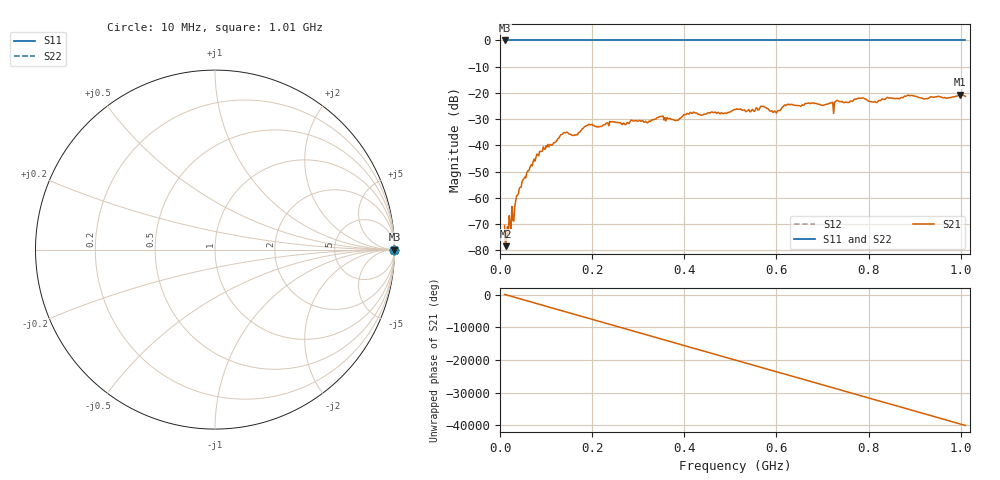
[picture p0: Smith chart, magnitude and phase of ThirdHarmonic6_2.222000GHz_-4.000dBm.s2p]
! 8/17/2025 2:27:37 AM
! C:\ANRITSUVNA\TEMP\TEMP.S2P
! CHANNEL.1
! TR.MEASUREMENT
! RAW.DATA
! RF.CORRECTION.OFF
! AVERAGING.OFF
! IF.BANDWIDTH: 5KHZ
! SWEEPTYPE:  FREQ.SWEEP(Linear)
! Reference Plane Port Info
! PORT:  PORT1  PORT2
! DISTANCE:  0  m  0  m
! TIME:  0  s  0  s
! PHASE.OFFSET:  0  deg.  0  deg.
! LOSS:  0  dB  0  dB
! REF.LOSS:  0  dB  0  dB
! REF.FREQ:  0  Hz  0  Hz
! Power Info
! POWER:  -20  dBm  -20  dBm
! EFF.POWER:  -20  dBm  -20  dBm
! SOURCE.ATTEN:  0  dB  0  dB
! TEST.ATTEN:  0  dB  0  dB
# GHZ S RI R 50.0
! FREQ.GHZ  S11RE  S11IM  S21RE  S21IM  S12RE  S12IM  S22RE  S22IM
!; PortSelection: Port_12
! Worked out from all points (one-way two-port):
!   501 points, 10 MHz to 1.01 GHz, reference 50 ohm
!   highest |S21| = -20.59 dB at 998 MHz (marker M1); lowest = -78.4 dB at 12 MHz (marker M2)
!   lowest |S11| = 0.0 dB at 10 MHz (marker M3)
!   |S11| at or under -10 dB: nowhere
!   |S22| runs from 0.0 to 0.0 dB; largest |S21 - S12| = 1.1
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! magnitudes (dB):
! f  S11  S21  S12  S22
! 10 MHz  0.0  -70.5  0.0  0.0
! 12 MHz  0.0  -78.4  0.0  0.0
! 14 MHz  0.0  -75.2  0.0  0.0
! 26 MHz  0.0  -63.3  0.0  0.0
! 38 MHz  0.0  -59.0  0.0  0.0
! 46 MHz  0.0  -55.9  0.0  0.0
! 82 MHz  0.0  -43.4  0.0  0.0
! 136 MHz  0.0  -35.7  0.0  0.0
! 164 MHz  0.0  -36.0  0.0  0.0
! 178 MHz  0.0  -33.8  0.0  0.0
! 196 MHz  0.0  -32.2  0.0  0.0
! 344 MHz  0.0  -29.3  0.0  0.0
! 382 MHz  0.0  -30.5  0.0  0.0
! 416 MHz  0.0  -27.8  0.0  0.0
! 510 MHz  0.0  -26.3  0.0  0.0
! 570 MHz  0.0  -25.1  0.0  0.0
! 596 MHz  0.0  -26.8  0.0  0.0
! 622 MHz  0.0  -24.6  0.0  0.0
! 678 MHz  0.0  -23.9  0.0  0.0
! 844 MHz  0.0  -21.9  0.0  0.0
! 998 MHz  0.0  -20.6  0.0  0.0
! 1.01 GHz  0.0  -21.3  0.0  0.0
